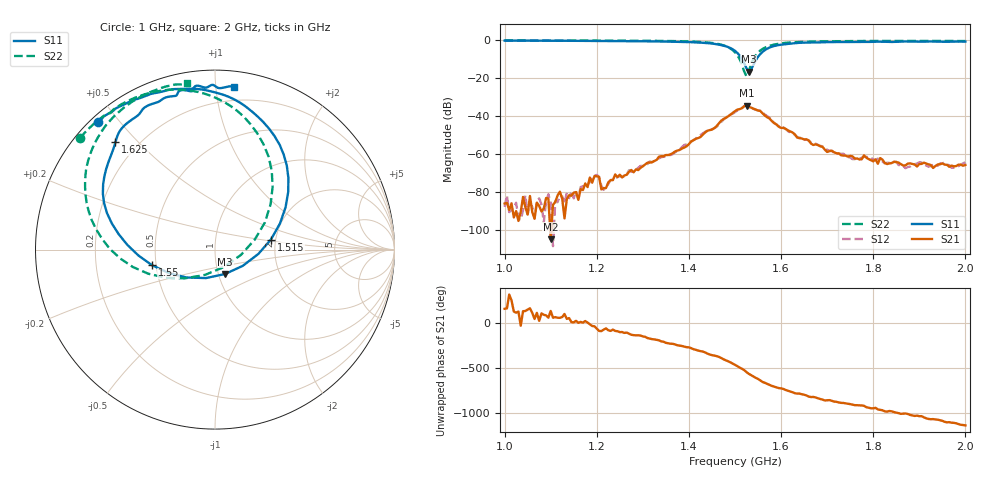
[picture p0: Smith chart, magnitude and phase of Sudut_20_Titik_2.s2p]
# Hz S RI R 50
! CMT, C1220, 16058040, 17.2.0/1
! Date: 14/08/2018 12:44:29
! Data: Format (Calibration Info)
! Freq  S11: Re/Im (F2)  S21: Re/Im (F2)  S12: Re/Im (F2)  S22: Re/Im (F2)
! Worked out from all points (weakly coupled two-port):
!   201 points, 1 GHz to 2 GHz, reference 50 ohm
!   highest |S21| = -34.58 dB at 1.525 GHz (marker M1); lowest = -105.1 dB at 1.1 GHz (marker M2)
!   lowest |S11| = -16.6 dB at 1.53 GHz (marker M3), VSWR 1.34, Z = 53.8 - j14.9 ohm
!   |S11| at or under -10 dB: 1.515 GHz to 1.547 GHz (31.91 MHz wide, 2.08 % of centre)
!   |S22| runs from -19.2 to -0.2 dB; largest |S21 - S12| = 0.00079
!   S11 on the Smith chart (normalised r, x): 1 GHz: 0.02, +0.44; 1.515 GHz: 1.89, +0.23; 1.55 GHz: 0.47, -0.09; 1.625 GHz: 0.12, +0.43; 2 GHz: 0.11, +1.11
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1e9  -0.6498 0.7136  -4.36e-05 2.12e-05  3.38e-05 -2.11e-05  -0.7519 0.6222
1.1e9  -0.5564 0.7836  -3.58e-06 4.28e-06  -5.46e-06 4.99e-05  -0.6798 0.6964
1.17e9  -0.4779 0.8232  0.00011 9.28e-07  0.000137 2.01e-05  -0.6164 0.7472
1.185e9  -0.4548 0.8331  0.000224 -7.11e-05  0.000167 -6.35e-05  -0.5995 0.7564
1.19e9  -0.4472 0.8357  0.000137 -0.000104  0.000225 -0.000123  -0.5934 0.759
1.2e9  -0.435 0.8387  0.000101 -0.000233  0.000139 -0.000238  -0.5831 0.7604
1.215e9  -0.4195 0.8436  2.65e-05 -0.000121  -3.36e-06 -0.000112  -0.5758 0.769
1.24e9  -0.3762 0.8598  -1.36e-05 -0.000284  -2.01e-05 -0.000226  -0.5492 0.7923
1.255e9  -0.3522 0.8685  -5.93e-05 -0.000229  -7.66e-05 -0.000233  -0.5299 0.8043
1.335e9  -0.2147 0.8944  -0.0008 0.000238  -0.000696 0.000292  -0.4018 0.8615
1.45e9  0.1847 0.7864  0.00432 -0.000145  0.00441 -0.000473  0.0212 0.8374
1.5e9  0.4079 0.321  -0.00418 -0.0126  -0.004 -0.0118  0.3211 0.3491
1.515e9  0.3116 0.056  -0.0141 -0.00736  -0.014 -0.00782  0.2209 0.0548
1.525e9  0.1552 -0.0902  -0.0183 0.00354  -0.0185 0.00342  0.0506 -0.0968
1.53e9  0.0563 -0.1359  -0.0148 0.00838  -0.015 0.00837  -0.0565 -0.141
1.55e9  -0.3508 -0.087  -0.000773 0.0138  -0.00136 0.0138  -0.4576 -0.097
1.58e9  -0.6177 0.258  0.007 0.00199  0.00734 0.0018  -0.7039 0.2143
1.625e9  -0.5545 0.5985  0.00207 -0.00297  0.00201 -0.00277  -0.6995 0.5186
1.67e9  -0.4409 0.7391  -0.000493 -0.00163  -0.000564 -0.00172  -0.6249 0.6685
1.835e9  -0.1367 0.8819  -6.44e-05 0.00055  -7.91e-05 0.00057  -0.3789 0.8695
1.98e9  0.0762 0.9089  0.000361 -0.000306  0.000291 -0.000305  -0.181 0.9207
2e9  0.1031 0.9048  0.00022 -0.000454  0.000227 -0.000553  -0.157 0.9294
